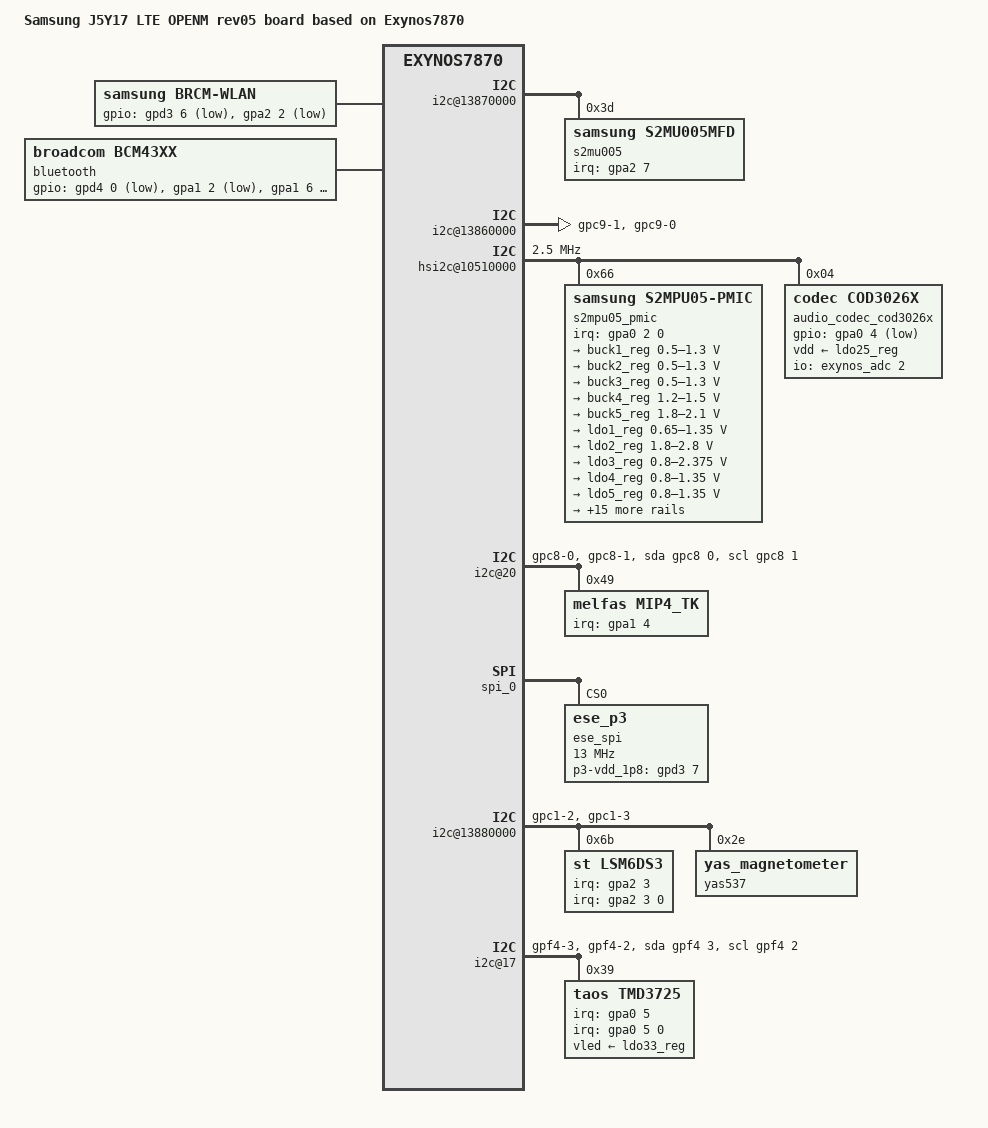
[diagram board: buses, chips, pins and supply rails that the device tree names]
/*
 * SAMSUNG UNIVERSAL8890 board device tree source
 *
 * Copyright (c) 2013 Samsung Electronics Co., Ltd.
 *		http://www.samsung.com
 *
 * This program is free software; you can redistribute it and/or modify
 * it under the terms of the GNU General Public License version 2 as
 * published by the Free Software Foundation.
*/

/dts-v1/;
#include "exynos7870-j5y17lte_common.dtsi"
#include "modem-ss315ap-pdata.dtsi"
#include "exynos7870-j5y17lte_eur_openm_gpio_05.dtsi"
#include "exynos7870-j5y17lte_eur_openm_battery_00.dtsi"
#include "exynos7870-j5y17lte_fingerprint-sensor_00.dtsi"
#include "exynos7870-j5y17lte_mst_00.dtsi"

/ {
	model = "Samsung J5Y17 LTE OPENM rev05 board based on Exynos7870";
        model_info-chip = <7870>;
        model_info-platform = "android";
        model_info-subtype = "samsung";
        model_info-hw_rev = <5>;
        model_info-hw_rev_end = <6>;
	compatible = "samsung, J5Y17 LTE EUR OPENM 05", "samsung,exynos7870";

	i2c@13870000 {
		status = "okay";
		samsung,i2c-sda-delay = <100>;
		samsung,i2c-max-bus-freq = <400000>;

		s2mu005@3d {
			compatible = "samsung,s2mu005mfd";
			reg = <0x3d>;
			pinctrl-names = "default";
			pinctrl-0 = <&if_pmic_irq>;
			s2mu005,irq-gpio = <&gpa2 7 0>;
			s2mu005,wakeup;

			leds {
				flash-gpio = <&gpd3 2 0>;
				torch-gpio = <&gpd3 3 0>;

				flash_current = <1200>;
				preflash_current = <150>;
				movie_current = <175>; /*unused*/
				torch_current = <75>;
				factory_current = <300>;
				front_torch_current = <100>;

				status = "okay";
				s2mu005-leds1 {
					ledname = "leds-sec1";
					id = <0>;
					timeout = <15>; /* use gpio */
				};

				s2mu005-leds2 {
					ledname = "leds-sec2";
					id = <1>;
					timeout = <15>; /* use gpio */
				};
			};

			leds-rgb {
				led_current_tuning_count = <3>; 	/* Number of Supported Panel Tuning */
				led_current_tuning = <
					0x0D6020  	/* LCD ID: Gold Color */
					0x28 0x07 0x20   /* B G R LED MAX current for Normal Mode */
					0x28 0x07 0x20   /* B G R LED MAX current for Low power mode */
					0x0D6120  	/* White Color */
					0x27 0x07 0x1E
					0x27 0x07 0x1E
					0x0D6220  	/* Black Color */
					0x5C 0x0D 0x28
					0x5C 0x0D 0x28
					>;
			};
		};
	};

	but_zones: but_zones {
		#list-but-cells = <3>;
	};

	s1402x: s1402x@14880000 {
		pinctrl-names = "default", "idle", "bt", "bt-idle";
		pinctrl-0 = <&i2s_pmic_amp_bus
			&i2s_bt_bus>;
		pinctrl-1 = <&i2s_pmic_amp_bus_idle
			&i2s_bt_bus_idle> ;
		pinctrl-2 = <&i2s_pmic_bus
			&i2s_amp_bus>;
		pinctrl-3 = <&i2s_bt_bus_idle>;

		bt-fm-combo;
		/delete-property/ bck-mcko-mode;
		status = "okay";
	};
	pinctrl@139B0000 {
		spk_amp_i2c: spk-amp-i2c {
			samsung,pins = "gpc9-1", "gpc9-0";
			samsung,pin-function = <2>;
			samsung,pin-pud = <0>;
		};
		rgb_proxy_en: rgb_proxy_en {
			samsung,pins = "gpd2-3";
			samsung,pin-function = <0x1>;
			samsung,pin-pud = <0>;
			samsung,pin-val = <1>;
		};
	};

	i2c@13860000 {
		status = "okay";
		samsung,i2c-max-bus-freq = <400000>;
		samsung,i2c-bus-num = <20>;
		pinctrl-names = "default";
		pinctrl-0 = <&spk_amp_i2c>;
	};

	hsi2c@10510000 {
		status = "okay";
		samsung,hs-mode;
		clock-frequency = <2500000>;
		samsung,hsi2c-batcher;
		#address-cells = <1>;
		#size-cells = <0>;

		s2mpu05_pmic@66 {
			compatible = "samsung,s2mpu05-pmic";
			reg = <0x66>;
			ten-bit-address;
			interrupts = <2 0 0>;
			interrupt-parent = <&gpa0>;
			pinctrl-names = "default";
			pinctrl-0 = <&pmic_irq &pm_wrsti>;
			g3d_en = <1>; /* 1 : enable , 0 : disable */
			buck2en_pin = "etc1-3";
			buck2en_addr = "139B0080.pinctrl";
			/* RTC: wtsr/smpl */
			wtsr_en = <1>; /* enable */
			smpl_en = <1>; /* enable */
			wtsr_timer_val = <3>;   /* 1000ms */
			smpl_timer_val = <0>;   /* 100ms */
			check_jigon = <0>; /* do not check jigon */
			/* RTC: If it's first boot, reset rtc to 1/1/2016 12:00:00(Fri) */
			init_time,sec = <0>;
			init_time,min = <0>;
			init_time,hour = <12>;
			init_time,mday = <1>;
			init_time,mon = <0>;
			init_time,year = <116>;
			init_time,wday = <5>;

			regulators {
				buck1_reg: BUCK1 {
					regulator-name = "BUCK1";
					regulator-min-microvolt = <500000>;
					regulator-max-microvolt = <1300000>;
					regulator-always-on;
					regulator-boot-on;
					regulator-ramp-delay = <12000>;
					regulator-initial-mode = <1>;
					regulator-expected-consumer = <2>;
				};

				buck2_reg: BUCK2 {
					regulator-name = "BUCK2";
					regulator-min-microvolt = <500000>;
					regulator-max-microvolt = <1300000>;
					regulator-always-on;
					regulator-boot-on;
					regulator-ramp-delay = <12000>;
					regulator-initial-mode = <2>;		/* MIF mode */
					regulator-expected-consumer = <4>;
				};

				buck3_reg: BUCK3 {
					regulator-name = "BUCK3";
					regulator-min-microvolt = <500000>;
					regulator-max-microvolt = <1300000>;
					regulator-always-on;
					regulator-boot-on;
					regulator-ramp-delay = <12000>;
					regulator-initial-mode = <2>;
				};

				buck4_reg: BUCK4 {
					regulator-name = "BUCK4";
					regulator-min-microvolt = <1200000>;
					regulator-max-microvolt = <1500000>;
					regulator-always-on;
					regulator-boot-on;
					regulator-ramp-delay = <12000>;
					regulator-initial-mode = <2>;
				};

				buck5_reg: BUCK5 {
					regulator-name = "BUCK5";
					regulator-min-microvolt = <1800000>;
					regulator-max-microvolt = <2100000>;
					regulator-always-on;
					regulator-boot-on;
					regulator-ramp-delay = <12000>;
					regulator-initial-mode = <2>;
				};

				ldo1_reg: LDO1 {
					regulator-name = "vdd_ldo1";
					regulator-min-microvolt = <650000>;
					regulator-max-microvolt = <1350000>;
					regulator-always-on;
					regulator-boot-on;
					regulator-ramp-delay = <12000>;
					regulator-initial-mode = <3>;
				};

				ldo2_reg: LDO2 {
					regulator-name = "vqmmc";
					regulator-min-microvolt = <1800000>;
					regulator-max-microvolt = <2800000>;
					regulator-ramp-delay = <12000>;
					regulator-initial-mode = <0>;
				};

				ldo3_reg: LDO3 {
					regulator-name = "vdd_ldo3";
					regulator-min-microvolt = <800000>;
					regulator-max-microvolt = <2375000>;
					regulator-boot-on;
					regulator-always-on;
					regulator-ramp-delay = <12000>;
					regulator-initial-mode = <3>;
				};

				ldo4_reg: LDO4 {
					regulator-name = "vdd_ldo4";
					regulator-min-microvolt = <800000>;
					regulator-max-microvolt = <1350000>;
					regulator-boot-on;
					regulator-always-on;
					regulator-ramp-delay = <12000>;
					regulator-initial-mode = <1>;
				};

				ldo5_reg: LDO5 {
					regulator-name = "vdd_ldo5";
					regulator-min-microvolt = <800000>;
					regulator-max-microvolt = <1350000>;
					regulator-boot-on;
					regulator-always-on;
					regulator-ramp-delay = <12000>;
					regulator-initial-mode = <3>;
				};

				ldo6_reg: LDO6 {
					regulator-name = "vdd_ldo6";
					regulator-min-microvolt = <800000>;
					regulator-max-microvolt = <1350000>;
					regulator-boot-on;
					regulator-always-on;
					regulator-ramp-delay = <12000>;
					regulator-initial-mode = <1>;
				};

				ldo7_reg: LDO7 {
					regulator-name = "vdd_ldo7";
					regulator-min-microvolt = <800000>;
					regulator-max-microvolt = <2375000>;
					regulator-boot-on;
					regulator-always-on;
					regulator-ramp-delay = <12000>;
					regulator-initial-mode = <1>;
				};

				ldo8_reg: LDO8 {
					regulator-name = "vdd_ldo8";
					regulator-min-microvolt = <1800000>;
					regulator-max-microvolt = <3375000>;
					regulator-boot-on;
					regulator-always-on;
					regulator-ramp-delay = <12000>;
					regulator-initial-mode = <1>;
				};

				ldo9_reg: LDO9 {
					regulator-name = "vdd_ldo9";
					regulator-min-microvolt = <650000>;
					regulator-max-microvolt = <1350000>;
					regulator-always-on;
					regulator-ramp-delay = <12000>;
					regulator-initial-mode = <1>;
				};

				ldo10_reg: LDO10 {
					regulator-name = "vdd_ldo10";
					regulator-min-microvolt = <650000>;
					regulator-max-microvolt = <1350000>;
					regulator-always-on;
					regulator-ramp-delay = <12000>;
					regulator-initial-mode = <1>;
				};

				ldo25_reg: LDO25 {
					regulator-name = "vdd_ldo25";
					regulator-min-microvolt = <800000>;
					regulator-max-microvolt = <2375000>;
					regulator-ramp-delay = <12000>;
					regulator-initial-mode = <1>;
				};

				ldo26_reg: LDO26 {
					regulator-name = "vemmc";
					regulator-min-microvolt = <1800000>;
					regulator-max-microvolt = <3375000>;
					regulator-boot-on;
					regulator-ramp-delay = <12000>;
					regulator-initial-mode = <3>;
				};

				ldo27_reg: LDO27 {
					regulator-name = "vqemmc";
					regulator-min-microvolt = <800000>;
					regulator-max-microvolt = <2375000>;
					regulator-boot-on;
					regulator-ramp-delay = <12000>;
					regulator-initial-mode = <3>;
				};

				ldo29_reg: LDO29 {
					regulator-name = "LCD_3P0";
					regulator-min-microvolt = <3000000>;
					regulator-max-microvolt = <3000000>;
					regulator-boot-on;
					regulator-initial-mode = <3>;
				};

				ldo30_reg: LDO30 {
					regulator-name = "LCD_1P8";
					regulator-min-microvolt = <1800000>;
					regulator-max-microvolt = <1800000>;
					regulator-boot-on;
					regulator-initial-mode = <3>;
				};

				ldo31_reg: LDO31 {
					regulator-name = "vdd_ldo31";
					regulator-min-microvolt = <2800000>;
					regulator-max-microvolt = <2800000>;
					regulator-boot-on;
					regulator-always-on;
					regulator-ramp-delay = <12000>;
					regulator-initial-mode = <3>;
				};

				ldo32_reg: LDO32 {
					regulator-name = "VDD_MOTOR_3.3";
					regulator-min-microvolt = <3300000>;
					regulator-max-microvolt = <3300000>;
					regulator-ramp-delay = <12000>;
				};

				ldo33_reg: LDO33 {
					regulator-name = "vdd_sensor_3p3";
					regulator-min-microvolt = <3300000>;
					regulator-max-microvolt = <3300000>;
					regulator-ramp-delay = <12000>;
					regulator-initial-mode = <3>;
				};

				ldo34_reg: LDO34 {
					regulator-name = "tsp_avdd";
					regulator-min-microvolt = <3300000>;
					regulator-max-microvolt = <3300000>;
				};

				ldo35_reg: LDO35 {
					regulator-name = "vtouch_2.8v";
					regulator-min-microvolt = <3300000>;
					regulator-max-microvolt = <3300000>;
					regulator-boot-on;
					regulator-initial-mode = <0>;
				};
			};
		};

		audio_codec_cod3026x: cod3026x@04 {
			compatible = "codec,cod3026x";
			reg = <0x04>;
			ten-bit-address;
			vdd-supply = <&ldo25_reg>;
			pinctrl-names = "default";
			pinctrl-0 = <&cod3026_irq>;
			interrupt-parent = <&gpa0>;
			gpios = <&gpa0 4 0xf>;
			mic-bias1-voltage = <1>;
			mic-bias2-voltage = <1>;
			mic-bias-ldo-voltage = <3>;
			use-det-adc-mode;
			io-channels = <&exynos_adc 2>;
			io-channel-names = "adc-jack";
			#io-channel-cells = <1>;
			io-channel-ranges;
			but-zones-list = <&but_zones 226 0 240>, /* send/end */
					<&but_zones 582 241 317>, /* google */
					<&but_zones 115 318 517>, /* vol up */
					<&but_zones 114 518 1107>; /* vol down */
			mic-adc-range = <1347>;
			mic-det-delay = <550>;
		};
	};

	i2c@13850000 {
		status = "disable";
	};

	pinctrl@139B0000 {
		cfg_i2c: cfg-i2c {
			samsung,pins = "gpc8-0", "gpc8-1";
			samsung,pin-function = <3>;
			samsung,pin-pud = <0>;
			samsung,pin-drv = <0>;
		};
		cfg_gpio: cfg_gpio {
			samsung,pins = "gpc8-0", "gpc8-1";
			samsung,pin-function = <0>;
			samsung,pin-pud = <0>;
			samsung,pin-drv = <0>;
		};
	};

	i2c@20{
		compatible = "i2c-gpio";
		gpios = <&gpc8 0 0 /* sda */
				&gpc8 1 0 /* scl */
				>;
		i2c-gpio,delay-us = <2>;
		#address-cells = <1>;
		#size-cells = <0>;
		status = "okay";
		pinctrl-names = "default","on_i2c","off_i2c";
		pinctrl-0 = <&cfg_i2c>;
		pinctrl-1 = <&cfg_i2c>;
		pinctrl-2 = <&cfg_gpio>;

		mip4_tk@49{
			compatible = "melfas,mip4_tk";
			reg = <0x49>;
			pinctrl-names = "default";
			pinctrl-0 = <&tkey_irq>;
			mip4_tk,keynum = <2>;
			mip4_tk,keycode = <254 158>;
			mip4_tk,irq-gpio = <&gpa1 4 0>;
			mip4_tk,pwr-reg-name = "vtouch_2.8v";
			mip4_tk,boot-on-ldo = <1>;
			mip4_tk,firmware-name = "melfas_tk/mhs2041B_j5y17.fw";
			mip4_tk,grip_ch = <1>;
		};
	};

	wlan {
		compatible = "samsung,brcm-wlan";
		gpios = <&gpd3 6 0x1 /* WLAN_EN */
			&gpa2 2 0x1>; /* WLAN_HOST_WAKE */
		pinctrl-names = "default";
		pinctrl-0 = <&cfg_wlanen &cfg_wlanhostwake>;
		status = "okay";
	};

	pinctrl@13750000 {
		sd1_bus1: sd1-bus-width1 {
			samsung,pin-pud = <3>;
		};

		sd1_bus4: sd1-bus-width4 {
			samsung,pin-pud = <3>;
		};
	};

	bluetooth {
		compatible = "broadcom,bcm43xx";
		gpios = <&gpd4 0 0x1	/*BT_EN*/
                         &gpa1 2 0x1	/*BT_WAKE*/
                         &gpa1 6 0xF	/*BT_HOST_WAKE*/ >;
		pinctrl-names = "default";
		pinctrl-0=<&bt_hostwake_bcm &bt_btwake_bcm &bt_en_bcm>;
		fm-lna-en = <&gpc0 1 1>;
		status = "okay";
	};

	pinctrl@139F0000 {
		acc_int: acc_int {
			samsung,pins = "gpa2-3";
			samsung,pin-function = <0xf>;
			samsung,pin-pud = <0>;
			samsung,pin-drv = <0>;
		};

		prox_int: prox_int {
			samsung,pins = "gpa0-5";
			samsung,pin-function = <0xf>;
			samsung,pin-pud = <0>;
			samsung,pin-drv = <0>;
		};

		bt_btwake_bcm: bt-btwake {
			samsung,pins = "gpa1-2";
			samsung,pin-function = <1>;
			samsung,pin-pud = <0>;
			samsung,pin-con-pdn = <3>;
			samsung,pin-pud-pdn = <0>;
		};

                bt_hostwake_bcm: bt-hostwake {
			samsung,pins = "gpa1-6";
			samsung,pin-function = <0>;
			samsung,pin-pud = <0>;
			samsung,pin-con-pdn = <2>;
			samsung,pin-pud-pdn = <0>;
		};
	};

	pinctrl@139B0000 {
		/delete-node/ ese_pvdd_en;

		sensor_i2c: sensor_i2c {
			samsung,pins = "gpc1-2", "gpc1-3";
			samsung,pin-function = <2>;
			samsung,pin-pud = <0>;
		};

		proxy_i2c: proxy_i2c {
			samsung,pins = "gpf4-3", "gpf4-2";
			samsung,pin-function = <3>;
			samsung,pin-pud = <0>;
		};

		bt_en_bcm: bt-en {
			samsung,pins = "gpd4-0";
			samsung,pin-function = <1>;
			samsung,pin-pud = <0>;
			samsung,pin-con-pdn = <3>;
			samsung,pin-pud-pdn = <0>;
		};
	};

	spi_0: spi@13920000 {
		/delete-property/ pinctrl-names;
		/delete-property/ pinctrl-0;
		status = "okay";

		ese_spi@0 {
			compatible = "ese_p3";
			reg = <0>;
			spi-max-frequency = <13000000>;

			gpio-controller;
			#gpio-cells = <2>;

			p3-vdd_1p8-gpio = <&gpd3 7 0>;
			p3-ap_vendor = "slsi";

			clocks = <&clock 191>, <&clock 633>;
			clock-names = "pclk", "sclk";

			pinctrl-names = "ese_active", "ese_suspend";
			pinctrl-0 = <&spi0_bus &ese_cs_func>;
			pinctrl-1 = <&spi0_bus_suspend &ese_cs_func_suspend>;

			controller-data {
				cs-gpio = <&gpc3 2 0>;
				samsung,spi-feedback-delay = <0>;
				samsung,spi-chip-select-mode = <1>;
			};
		};
	};

	i2c@13880000 {
		samsung,i2c-sda-delay = <100>;
		samsung,i2c-max-bus-freq = <400000>;
		status = "okay";
		#address-cells = <1>;
		#size-cells = <0>;
		pinctrl-names = "default";
		pinctrl-0 = <&sensor_i2c>;

		lsm6ds3@6b {
			compatible = "st,lsm6ds3";
			reg = <0x6b>;
			pinctrl-names = "default";
			pinctrl-0 = <&acc_int>;
			interrupt-parent = <&gpa2>;
			interrupts = <3 0 0>;
			st,orientation = <1 2 1 2 1 1 1 1 0>;
			st,drdy-int-pin = <1>;
			st,irq_gpio = <&gpa2 3 0x00>;
		};

		yas537@2e {
			compatible = "yas_magnetometer";
			reg = <0x2e>;
			yas,orientation = <0>;
			yas,softiron = <9947 2523 163 2523 8973 303 163 303 11083>;
			yas,softiron_sign = <2 2 0 2 2 2 0 2 2>;
		};
	};

	i2c@17 {
		compatible = "i2c-gpio";
		gpios = <&gpf4 3 0 /* sda */
			&gpf4 2 0 /* scl */>;
		i2c-gpio,delay-us = <2>;
		i2c-gpio,scl-output-only;
		#address-cells = <1>;
		#size-cells = <0>;
		status = "okay";
		pinctrl-names = "default";
		pinctrl-0 = <&proxy_i2c>;

		tmd3725@39 {
			compatible = "taos,tmd3725";
			reg = <0x39>;
			pinctrl-names = "default";
			pinctrl-0 = <&prox_int &rgb_proxy_en>;
			interrupt-parent = <&gpa0>;
			interrupts = <5 0 0>;
			taos,irq_gpio = <&gpa0 5 0x00>;
			taos,vled-supply = <&ldo33_reg>;
			taos,prox_thd_det_hi = <55>;
			taos,prox_thd_still_det_low = <40>;
			taos,prox_thd_still_det_hi = <250>;
			taos,prox_thd_rel_low = <130>;
			taos,coef_r = <(-830)>;
			taos,coef_g = <1100>;
			taos,coef_b = <(-1180)>;
			taos,coef_c = <1000>;
			taos,dgf = <925>;
			taos,cct_coef = <3521>;
			taos,cct_offset = <2095>;
		};
	};

};
